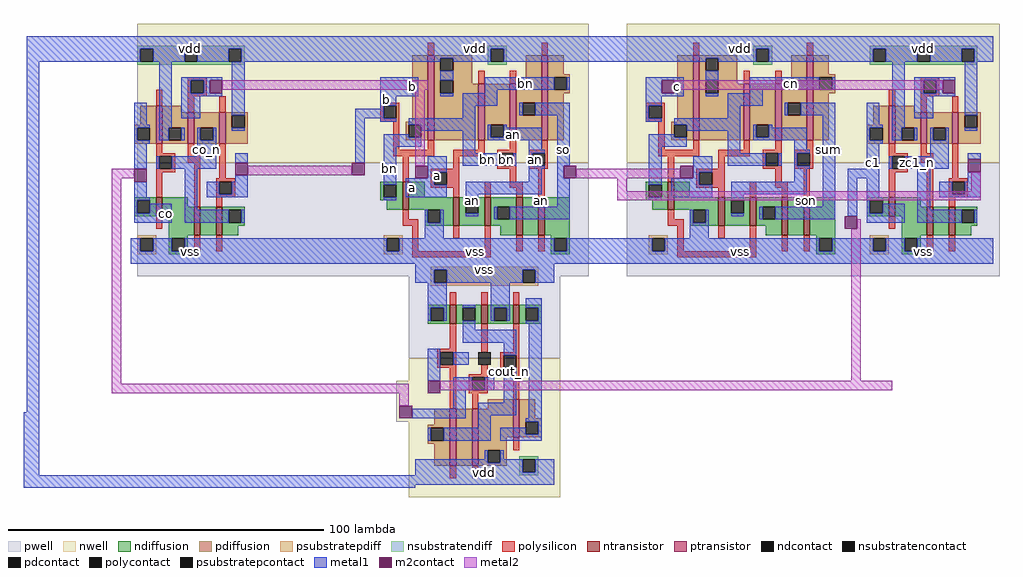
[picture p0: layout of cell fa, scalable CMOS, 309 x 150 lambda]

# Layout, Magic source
magic
tech scmos
<< pwell >>
rect -71 9 72 45
rect 84 9 202 45
rect 15 -17 63 9
<< nwell >>
rect -71 45 72 89
rect 84 45 202 89
rect 15 -24 63 -17
rect 11 -37 63 -24
rect 15 -61 63 -37
<< polysilicon >>
rect 21 79 23 83
rect -55 71 -49 72
rect -65 63 -63 68
rect -55 67 -54 71
rect -50 67 -49 71
rect -55 66 -49 67
rect -55 61 -53 66
rect -45 61 -43 66
rect 6 63 12 64
rect 6 59 7 63
rect 11 59 12 63
rect 6 58 12 59
rect -65 48 -63 51
rect -55 48 -53 51
rect -65 47 -59 48
rect -65 43 -64 47
rect -60 43 -59 47
rect -55 45 -51 48
rect -65 42 -59 43
rect -65 34 -63 42
rect -53 31 -51 45
rect -45 40 -43 51
rect 10 49 12 58
rect 57 79 59 83
rect 105 79 107 83
rect 37 70 39 74
rect 47 70 49 74
rect 90 63 96 64
rect 90 59 91 63
rect 95 59 96 63
rect 90 58 96 59
rect 21 49 23 52
rect 37 49 39 52
rect 47 49 49 52
rect 57 49 59 52
rect 10 47 23 49
rect 29 47 39 49
rect 43 48 49 49
rect -46 39 -40 40
rect 13 39 15 47
rect 29 43 31 47
rect 43 44 44 48
rect 48 44 49 48
rect 43 43 49 44
rect 53 48 59 49
rect 53 44 54 48
rect 58 44 59 48
rect 94 49 96 58
rect 141 79 143 83
rect 121 70 123 74
rect 131 70 133 74
rect 177 71 183 72
rect 167 63 169 68
rect 177 67 178 71
rect 182 67 183 71
rect 177 66 183 67
rect 105 49 107 52
rect 121 49 123 52
rect 131 49 133 52
rect 141 49 143 52
rect 177 61 179 66
rect 187 61 189 66
rect 94 47 107 49
rect 113 47 123 49
rect 127 48 133 49
rect 53 43 59 44
rect 22 42 31 43
rect -46 35 -45 39
rect -41 35 -40 39
rect -46 34 -40 35
rect -46 31 -44 34
rect -65 24 -63 28
rect 22 38 23 42
rect 27 38 31 42
rect 47 39 49 43
rect 22 37 31 38
rect 29 34 31 37
rect 39 34 41 39
rect 47 37 51 39
rect 49 34 51 37
rect 56 34 58 43
rect 97 39 99 47
rect 113 43 115 47
rect 127 44 128 48
rect 132 44 133 48
rect 127 43 133 44
rect 137 48 143 49
rect 137 44 138 48
rect 142 44 143 48
rect 137 43 143 44
rect 167 48 169 51
rect 177 48 179 51
rect 167 47 173 48
rect 167 43 168 47
rect 172 43 173 47
rect 177 45 181 48
rect 106 42 115 43
rect 13 27 15 30
rect 13 25 18 27
rect -53 17 -51 22
rect -46 17 -44 22
rect 16 17 18 25
rect 29 21 31 25
rect 39 17 41 25
rect 106 38 107 42
rect 111 38 115 42
rect 131 39 133 43
rect 106 37 115 38
rect 113 34 115 37
rect 123 34 125 39
rect 131 37 135 39
rect 133 34 135 37
rect 140 34 142 43
rect 167 42 173 43
rect 167 34 169 42
rect 97 27 99 30
rect 97 25 102 27
rect 49 17 51 22
rect 56 17 58 22
rect 16 15 41 17
rect 100 17 102 25
rect 113 21 115 25
rect 123 17 125 25
rect 179 31 181 45
rect 187 40 189 51
rect 186 39 192 40
rect 186 35 187 39
rect 191 35 192 39
rect 186 34 192 35
rect 186 31 188 34
rect 167 24 169 28
rect 133 17 135 22
rect 140 17 142 22
rect 100 15 125 17
rect 179 17 181 22
rect 186 17 188 22
rect 28 0 30 4
rect 38 0 40 4
rect 48 0 50 4
rect 28 -14 30 -6
rect 24 -15 30 -14
rect 38 -15 40 -6
rect 48 -15 50 -6
rect 24 -19 25 -15
rect 29 -19 30 -15
rect 44 -16 50 -15
rect 24 -20 30 -19
rect 28 -33 30 -20
rect 38 -22 40 -19
rect 44 -20 45 -16
rect 49 -20 50 -16
rect 44 -21 50 -20
rect 34 -23 40 -22
rect 34 -27 35 -23
rect 39 -27 40 -23
rect 34 -28 40 -27
rect 35 -33 37 -28
rect 48 -30 50 -21
rect 48 -46 50 -42
rect 28 -55 30 -51
rect 35 -55 37 -51
<< ndiffusion >>
rect -72 33 -65 34
rect -72 29 -71 33
rect -67 29 -65 33
rect -72 28 -65 29
rect -63 31 -55 34
rect 6 38 13 39
rect 6 34 7 38
rect 11 34 13 38
rect 6 33 13 34
rect -63 28 -53 31
rect -61 22 -53 28
rect -51 22 -46 31
rect -44 30 -37 31
rect 8 30 13 33
rect 15 34 20 39
rect 90 38 97 39
rect 90 34 91 38
rect 95 34 97 38
rect 15 30 29 34
rect -44 26 -42 30
rect -38 26 -37 30
rect -44 25 -37 26
rect 20 26 21 30
rect 25 26 29 30
rect 20 25 29 26
rect 31 33 39 34
rect 31 29 33 33
rect 37 29 39 33
rect 31 25 39 29
rect 41 31 49 34
rect 41 27 43 31
rect 47 27 49 31
rect 41 25 49 27
rect -44 22 -39 25
rect -61 21 -55 22
rect -61 17 -60 21
rect -56 17 -55 21
rect -61 16 -55 17
rect 44 22 49 25
rect 51 22 56 34
rect 58 22 66 34
rect 90 33 97 34
rect 92 30 97 33
rect 99 34 104 39
rect 99 30 113 34
rect 104 26 105 30
rect 109 26 113 30
rect 104 25 113 26
rect 115 33 123 34
rect 115 29 117 33
rect 121 29 123 33
rect 115 25 123 29
rect 125 31 133 34
rect 125 27 127 31
rect 131 27 133 31
rect 125 25 133 27
rect 60 21 66 22
rect 60 17 61 21
rect 65 17 66 21
rect 60 16 66 17
rect 128 22 133 25
rect 135 22 140 34
rect 142 22 150 34
rect 160 33 167 34
rect 160 29 161 33
rect 165 29 167 33
rect 160 28 167 29
rect 169 31 177 34
rect 169 28 179 31
rect 171 22 179 28
rect 181 22 186 31
rect 188 30 195 31
rect 188 26 190 30
rect 194 26 195 30
rect 188 25 195 26
rect 188 22 193 25
rect 144 21 150 22
rect 144 17 145 21
rect 149 17 150 21
rect 144 16 150 17
rect 171 21 177 22
rect 171 17 172 21
rect 176 17 177 21
rect 171 16 177 17
rect 21 -1 28 0
rect 21 -5 22 -1
rect 26 -5 28 -1
rect 21 -6 28 -5
rect 30 -1 38 0
rect 30 -5 32 -1
rect 36 -5 38 -1
rect 30 -6 38 -5
rect 40 -1 48 0
rect 40 -5 42 -1
rect 46 -5 48 -1
rect 40 -6 48 -5
rect 50 -1 57 0
rect 50 -5 52 -1
rect 56 -5 57 -1
rect 50 -6 57 -5
<< pdiffusion >>
rect -70 57 -65 63
rect -72 56 -65 57
rect -72 52 -71 56
rect -67 52 -65 56
rect -72 51 -65 52
rect -63 61 -57 63
rect -63 56 -55 61
rect -63 52 -61 56
rect -57 52 -55 56
rect -63 51 -55 52
rect -53 56 -45 61
rect -53 52 -51 56
rect -47 52 -45 56
rect -53 51 -45 52
rect -43 60 -36 61
rect -43 56 -41 60
rect -37 56 -36 60
rect 16 58 21 79
rect -43 51 -36 56
rect 14 57 21 58
rect 14 53 15 57
rect 19 53 21 57
rect 14 52 21 53
rect 23 78 35 79
rect 23 74 25 78
rect 29 74 35 78
rect 23 71 35 74
rect 23 67 25 71
rect 29 70 35 71
rect 52 70 57 79
rect 29 67 37 70
rect 23 52 37 67
rect 39 57 47 70
rect 39 53 41 57
rect 45 53 47 57
rect 39 52 47 53
rect 49 64 57 70
rect 49 60 51 64
rect 55 60 57 64
rect 49 52 57 60
rect 59 73 64 79
rect 59 72 66 73
rect 59 68 61 72
rect 65 68 66 72
rect 59 67 66 68
rect 59 52 64 67
rect 100 58 105 79
rect 98 57 105 58
rect 98 53 99 57
rect 103 53 105 57
rect 98 52 105 53
rect 107 78 119 79
rect 107 74 109 78
rect 113 74 119 78
rect 107 71 119 74
rect 107 67 109 71
rect 113 70 119 71
rect 136 70 141 79
rect 113 67 121 70
rect 107 52 121 67
rect 123 57 131 70
rect 123 53 125 57
rect 129 53 131 57
rect 123 52 131 53
rect 133 64 141 70
rect 133 60 135 64
rect 139 60 141 64
rect 133 52 141 60
rect 143 73 148 79
rect 143 72 150 73
rect 143 68 145 72
rect 149 68 150 72
rect 143 67 150 68
rect 143 52 148 67
rect 162 57 167 63
rect 160 56 167 57
rect 160 52 161 56
rect 165 52 167 56
rect 160 51 167 52
rect 169 61 175 63
rect 169 56 177 61
rect 169 52 171 56
rect 175 52 177 56
rect 169 51 177 52
rect 179 56 187 61
rect 179 52 181 56
rect 185 52 187 56
rect 179 51 187 52
rect 189 60 196 61
rect 189 56 191 60
rect 195 56 196 60
rect 189 51 196 56
rect 40 -33 48 -30
rect 23 -38 28 -33
rect 21 -39 28 -38
rect 21 -43 22 -39
rect 26 -43 28 -39
rect 21 -44 28 -43
rect 23 -51 28 -44
rect 30 -51 35 -33
rect 37 -42 48 -33
rect 50 -36 55 -30
rect 50 -37 57 -36
rect 50 -41 52 -37
rect 56 -41 57 -37
rect 50 -42 57 -41
rect 37 -46 46 -42
rect 37 -50 40 -46
rect 44 -50 46 -46
rect 37 -51 46 -50
<< metal1 >>
rect -106 81 200 85
rect -106 77 -70 81
rect -66 77 -56 81
rect -52 77 -42 81
rect -38 78 41 81
rect -38 77 25 78
rect -106 -34 -102 77
rect -72 57 -68 64
rect -72 56 -67 57
rect -72 52 -71 56
rect -64 56 -60 77
rect -57 71 -44 72
rect -57 67 -54 71
rect -50 67 -48 71
rect -57 66 -44 67
rect -57 59 -51 66
rect -41 60 -37 77
rect 29 77 41 78
rect 45 78 125 81
rect 45 77 109 78
rect 6 66 18 72
rect 25 71 29 74
rect 113 77 125 78
rect 129 77 162 81
rect 166 77 176 81
rect 180 77 190 81
rect 194 77 200 81
rect 39 68 61 72
rect 65 68 66 72
rect 90 71 102 72
rect 39 67 43 68
rect 25 66 29 67
rect 6 63 11 66
rect 6 62 7 63
rect -64 52 -61 56
rect -57 52 -56 56
rect -52 52 -51 56
rect -47 52 -46 56
rect -41 55 -37 56
rect -2 59 7 62
rect 32 63 43 67
rect 90 67 95 71
rect 99 67 102 71
rect 90 66 102 67
rect 109 71 113 74
rect 123 68 145 72
rect 149 68 150 72
rect 123 67 127 68
rect 109 66 113 67
rect 32 59 36 63
rect 50 60 51 64
rect 55 60 66 64
rect -72 51 -67 52
rect -72 43 -68 51
rect -52 47 -46 52
rect -65 43 -64 47
rect -60 43 -46 47
rect -40 45 -36 48
rect -2 45 1 59
rect 6 58 11 59
rect 15 57 36 59
rect -72 34 -68 39
rect -72 33 -67 34
rect -72 29 -71 33
rect -67 29 -60 32
rect -72 26 -60 29
rect -56 30 -52 43
rect 7 53 15 54
rect 19 55 36 57
rect 7 50 19 53
rect -40 39 -36 41
rect -49 35 -45 39
rect -41 35 -36 39
rect -49 34 -36 35
rect 7 38 11 50
rect 32 48 36 55
rect 40 53 41 57
rect 45 56 46 57
rect 45 53 57 56
rect 40 52 57 53
rect 53 49 57 52
rect 53 48 58 49
rect 21 42 27 47
rect 32 44 44 48
rect 48 44 49 48
rect 53 44 54 48
rect 21 40 23 42
rect 14 38 23 40
rect 53 43 58 44
rect 62 44 66 60
rect 90 63 95 66
rect 90 59 91 63
rect 116 63 127 67
rect 116 59 120 63
rect 134 60 135 64
rect 139 60 150 64
rect 90 58 95 59
rect 99 57 120 59
rect 91 53 99 54
rect 103 55 120 57
rect 91 50 103 53
rect 53 39 57 43
rect 14 34 27 38
rect 33 35 57 39
rect 62 40 64 44
rect 7 33 11 34
rect 33 33 37 35
rect -56 26 -42 30
rect -38 26 -37 30
rect 20 26 21 30
rect 25 26 26 30
rect 62 31 66 40
rect 91 38 95 50
rect 116 48 120 55
rect 124 53 125 57
rect 129 56 130 57
rect 129 53 141 56
rect 124 52 141 53
rect 137 49 141 52
rect 137 48 142 49
rect 105 42 111 47
rect 116 44 128 48
rect 132 44 133 48
rect 137 44 138 48
rect 105 40 107 42
rect 98 38 107 40
rect 137 43 142 44
rect 137 39 141 43
rect 98 34 111 38
rect 117 35 141 39
rect 91 33 95 34
rect 117 33 121 35
rect 33 28 37 29
rect 42 27 43 31
rect 47 27 66 31
rect 20 21 26 26
rect 104 26 105 30
rect 109 26 110 30
rect 146 31 150 60
rect 160 57 164 64
rect 160 56 165 57
rect 160 52 161 56
rect 168 56 172 77
rect 175 71 188 72
rect 175 67 178 71
rect 182 67 184 71
rect 175 66 188 67
rect 175 59 181 66
rect 191 60 195 77
rect 168 52 171 56
rect 175 52 176 56
rect 180 52 181 56
rect 185 52 186 56
rect 191 55 195 56
rect 160 51 165 52
rect 160 43 164 51
rect 180 47 186 52
rect 167 43 168 47
rect 172 43 186 47
rect 192 46 196 48
rect 117 28 121 29
rect 126 27 127 31
rect 131 27 150 31
rect 154 40 164 43
rect 154 28 157 40
rect 104 21 110 26
rect 160 34 164 40
rect 160 33 165 34
rect 160 29 161 33
rect 165 29 172 32
rect 160 26 172 29
rect 176 30 180 43
rect 192 39 196 42
rect 183 35 187 39
rect 191 35 196 39
rect 183 34 196 35
rect 176 26 190 30
rect 194 26 195 30
rect -73 17 -70 21
rect -66 17 -60 21
rect -56 17 8 21
rect 12 17 61 21
rect 65 17 92 21
rect 96 17 145 21
rect 149 17 162 21
rect 166 17 172 21
rect 176 17 200 21
rect -73 13 200 17
rect 17 11 61 13
rect 17 7 23 11
rect 27 7 51 11
rect 55 7 61 11
rect 21 -1 27 7
rect 21 -5 22 -1
rect 26 -5 27 -1
rect 32 -1 36 0
rect 41 -1 47 7
rect 41 -5 42 -1
rect 46 -5 47 -1
rect 52 -1 57 2
rect 56 -5 57 -1
rect 32 -8 36 -5
rect 52 -6 57 -5
rect 32 -12 49 -8
rect 21 -24 25 -14
rect 29 -19 34 -15
rect 45 -16 49 -12
rect 29 -27 35 -23
rect 39 -27 42 -23
rect -107 -54 -102 -34
rect 29 -33 33 -27
rect 45 -31 49 -20
rect 16 -36 33 -33
rect 37 -35 49 -31
rect 37 -39 41 -35
rect 53 -36 57 -6
rect 52 -37 57 -36
rect 21 -43 22 -39
rect 26 -43 41 -39
rect 44 -41 52 -39
rect 56 -41 57 -37
rect 44 -43 57 -41
rect 39 -49 40 -46
rect 17 -50 40 -49
rect 44 -49 45 -46
rect 44 -50 51 -49
rect 17 -53 51 -50
rect 55 -53 61 -49
rect 17 -54 61 -53
rect -107 -57 61 -54
rect -107 -58 17 -57
<< metal2 >>
rect -44 68 21 71
rect -79 40 -72 43
rect -79 -25 -76 40
rect -36 41 -3 44
rect 17 44 20 68
rect 99 68 184 71
rect 68 40 101 43
rect 81 36 84 40
rect 193 36 196 42
rect 81 33 196 36
rect 157 24 158 27
rect 155 -24 158 24
rect -79 -28 15 -25
rect 25 -27 168 -24
rect 12 -32 15 -28
<< ntransistor >>
rect -65 28 -63 34
rect -53 22 -51 31
rect -46 22 -44 31
rect 13 30 15 39
rect 29 25 31 34
rect 39 25 41 34
rect 49 22 51 34
rect 56 22 58 34
rect 97 30 99 39
rect 113 25 115 34
rect 123 25 125 34
rect 133 22 135 34
rect 140 22 142 34
rect 167 28 169 34
rect 179 22 181 31
rect 186 22 188 31
rect 28 -6 30 0
rect 38 -6 40 0
rect 48 -6 50 0
<< ptransistor >>
rect -65 51 -63 63
rect -55 51 -53 61
rect -45 51 -43 61
rect 21 52 23 79
rect 37 52 39 70
rect 47 52 49 70
rect 57 52 59 79
rect 105 52 107 79
rect 121 52 123 70
rect 131 52 133 70
rect 141 52 143 79
rect 167 51 169 63
rect 177 51 179 61
rect 187 51 189 61
rect 28 -51 30 -33
rect 35 -51 37 -33
rect 48 -42 50 -30
<< polycontact >>
rect -54 67 -50 71
rect 7 59 11 63
rect -64 43 -60 47
rect 91 59 95 63
rect 44 44 48 48
rect 54 44 58 48
rect 178 67 182 71
rect -45 35 -41 39
rect 23 38 27 42
rect 128 44 132 48
rect 138 44 142 48
rect 168 43 172 47
rect 107 38 111 42
rect 187 35 191 39
rect 25 -19 29 -15
rect 37 -19 41 -15
rect 45 -20 49 -16
rect 35 -27 39 -23
<< ndcontact >>
rect -71 29 -67 33
rect 7 34 11 38
rect 91 34 95 38
rect -42 26 -38 30
rect 21 26 25 30
rect 33 29 37 33
rect 43 27 47 31
rect -60 17 -56 21
rect 105 26 109 30
rect 117 29 121 33
rect 127 27 131 31
rect 61 17 65 21
rect 161 29 165 33
rect 190 26 194 30
rect 145 17 149 21
rect 172 17 176 21
rect 22 -5 26 -1
rect 32 -5 36 -1
rect 42 -5 46 -1
rect 52 -5 56 -1
<< pdcontact >>
rect -71 52 -67 56
rect -61 52 -57 56
rect -51 52 -47 56
rect -41 56 -37 60
rect 15 53 19 57
rect 25 74 29 78
rect 25 67 29 71
rect 41 53 45 57
rect 51 60 55 64
rect 61 68 65 72
rect 99 53 103 57
rect 109 74 113 78
rect 109 67 113 71
rect 125 53 129 57
rect 135 60 139 64
rect 145 68 149 72
rect 161 52 165 56
rect 171 52 175 56
rect 181 52 185 56
rect 191 56 195 60
rect 22 -43 26 -39
rect 52 -41 56 -37
rect 40 -50 44 -46
<< m2contact >>
rect -48 67 -44 71
rect 95 67 99 71
rect -72 39 -68 43
rect -40 41 -36 45
rect -3 41 1 45
rect 17 40 21 44
rect 64 40 68 44
rect 101 40 105 44
rect 184 67 188 71
rect 153 24 157 28
rect 192 42 196 46
rect 21 -28 25 -24
rect 12 -36 16 -32
<< psubstratepcontact >>
rect -70 17 -66 21
rect 8 17 12 21
rect 92 17 96 21
rect 162 17 166 21
rect 23 7 27 11
rect 51 7 55 11
<< nsubstratencontact >>
rect -70 77 -66 81
rect -56 77 -52 81
rect -42 77 -38 81
rect 41 77 45 81
rect 125 77 129 81
rect 162 77 166 81
rect 176 77 180 81
rect 190 77 194 81
rect 51 -53 55 -49
<< psubstratepdiff >>
rect -71 21 -65 22
rect -71 17 -70 21
rect -66 17 -65 21
rect -71 16 -65 17
rect 7 21 13 22
rect 7 17 8 21
rect 12 17 13 21
rect 7 16 13 17
rect 91 21 97 22
rect 91 17 92 21
rect 96 17 97 21
rect 91 16 97 17
rect 161 21 167 22
rect 161 17 162 21
rect 166 17 167 21
rect 161 16 167 17
rect 22 11 56 12
rect 22 7 23 11
rect 27 7 51 11
rect 55 7 56 11
rect 22 6 56 7
<< nsubstratendiff >>
rect -71 81 -37 82
rect -71 77 -70 81
rect -66 77 -56 81
rect -52 77 -42 81
rect -38 77 -37 81
rect 40 81 46 82
rect -71 76 -37 77
rect 40 77 41 81
rect 45 77 46 81
rect 124 81 130 82
rect 40 76 46 77
rect 124 77 125 81
rect 129 77 130 81
rect 161 81 195 82
rect 124 76 130 77
rect 161 77 162 81
rect 166 77 176 81
rect 180 77 190 81
rect 194 77 195 81
rect 161 76 195 77
rect 50 -49 56 -48
rect 50 -53 51 -49
rect 55 -53 56 -49
rect 50 -54 56 -53
<< labels >>
rlabel polycontact 46 46 46 46 6 bn
rlabel ntransistor 57 33 57 33 6 an
rlabel metal1 16 37 16 37 6 a
rlabel metal1 9 43 9 43 6 bn
rlabel metal1 8 65 8 65 6 b
rlabel metal1 16 69 16 69 6 b
rlabel polycontact 24 41 24 41 6 a
rlabel metal1 36 17 36 17 6 vss
rlabel metal1 35 33 35 33 6 an
rlabel metal1 40 46 40 46 6 bn
rlabel metal1 36 81 36 81 6 vdd
rlabel polycontact 55 46 55 46 6 an
rlabel metal1 48 54 48 54 6 an
rlabel metal1 52 70 52 70 6 bn
rlabel metal1 120 17 120 17 6 vss
rlabel metal1 120 81 120 81 6 vdd
rlabel metal1 64 49 64 49 1 so
rlabel metal1 148 49 148 49 1 sum
rlabel ntransistor 141 33 141 33 1 son
rlabel metal1 136 70 136 70 1 cn
rlabel metal1 -54 17 -54 17 6 vss
rlabel metal1 -54 81 -54 81 6 vdd
rlabel metal1 178 81 178 81 6 vdd
rlabel metal1 178 17 178 17 6 vss
rlabel metal1 100 69 100 69 1 c
rlabel metal1 39 11 39 11 2 vss
rlabel metal1 39 -53 39 -53 2 vdd
rlabel metal1 -49 49 -49 49 1 co_n
rlabel metal1 -62 29 -62 29 1 co
rlabel metal1 162 45 162 45 1 c1
rlabel metal1 176 45 176 45 1 zc1_n
rlabel metal1 47 -21 47 -21 1 cout_n
rlabel metal1 55 -17 55 -17 1 cout
<< end >>
